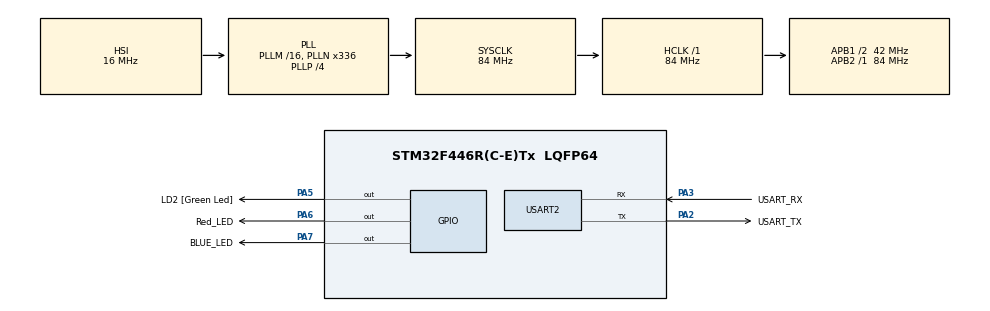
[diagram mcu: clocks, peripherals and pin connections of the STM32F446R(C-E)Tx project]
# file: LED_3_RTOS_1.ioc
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Mcu.Family=STM32F4
Mcu.Name=STM32F446R(C-E)Tx
Mcu.Package=LQFP64
NVIC.PriorityGroup=NVIC_PRIORITYGROUP_4
NVIC.TIM6_DAC_IRQn=true\:15\:0\:false\:false\:true\:false\:true\:true
NVIC.TimeBase=TIM6_DAC_IRQn
NVIC.TimeBaseIP=TIM6
PA14.GPIO_Label=TCK
PA14.Signal=SYS_JTCK-SWCLK
PA2.GPIO_Label=USART_TX
PA2.Mode=Asynchronous
PA2.Signal=USART2_TX
PA3.GPIO_Label=USART_RX
PA3.Mode=Asynchronous
PA3.Signal=USART2_RX
PA5.GPIO_Label=LD2 [Green Led]
PA5.Signal=GPIO_Output
PA6.GPIO_Label=Red_LED
PA6.Signal=GPIO_Output
PA7.GPIO_Label=BLUE_LED
PA7.Signal=GPIO_Output
PB3.GPIO_Label=SWO
PB3.Signal=SYS_JTDO-SWO
PC14-OSC32_IN.Mode=LSE-External-Oscillator
PC14-OSC32_IN.Signal=RCC_OSC32_IN
PC15-OSC32_OUT.Mode=LSE-External-Oscillator
PC15-OSC32_OUT.Signal=RCC_OSC32_OUT
PH0-OSC_IN.Mode=HSE-External-Oscillator
PH0-OSC_IN.Signal=RCC_OSC_IN
PH1-OSC_OUT.Mode=HSE-External-Oscillator
PH1-OSC_OUT.Signal=RCC_OSC_OUT
ProjectManager.HeapSize=0x200
ProjectManager.StackSize=0x400
ProjectManager.TargetToolchain=STM32CubeIDE
RCC.48MHZClocksFreq_Value=84000000
RCC.AHBFreq_Value=84000000
RCC.APB1CLKDivider=RCC_HCLK_DIV2
RCC.APB1Freq_Value=42000000
RCC.APB1TimFreq_Value=84000000
RCC.APB2Freq_Value=84000000
RCC.APB2TimFreq_Value=84000000
RCC.CortexFreq_Value=84000000
RCC.FLatency-AdvancedSettings=FLASH_LATENCY_2
RCC.HCLKFreq_Value=84000000
RCC.HSE_VALUE=8000000
RCC.HSI_VALUE=16000000
RCC.PLLN=336
RCC.PLLP=RCC_PLLP_DIV4
RCC.SYSCLKFreq_VALUE=84000000
RCC.SYSCLKSource=RCC_SYSCLKSOURCE_PLLCLK
RCC.USBFreq_Value=168000000
RCC.VCOOutputFreq_Value=336000000
USART2.VirtualMode=VM_ASYNC
VP_SYS_VS_tim6.Mode=TIM6
board=NUCLEO-F446RE

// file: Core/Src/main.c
/* USER CODE END Header */
#include "main.h"
#include <stdio.h>
#include "FreeRTOS.h"
#include "task.h"

UART_HandleTypeDef huart2;

void SystemClock_Config(void);
static void MX_GPIO_Init(void);
static void MX_USART2_UART_Init(void);

/* USER CODE BEGIN PFP */
static void led_green_handler(void * pvParameters);
static void led_red_handler(void * pvParameters);
static void led_blue_handler(void * pvParameters);

/* USER CODE END PFP */

int main(void)
{

  /* MCU Configuration--------------------------------------------------------*/

  /* Reset of all peripherals, Initializes the Flash interface and the Systick. */
  HAL_Init();

  /* USER CODE BEGIN Init */

  TaskHandle_t task1_handle;
  TaskHandle_t task2_handle;
  TaskHandle_t task3_handle;
  BaseType_t xReturned;

  /* USER CODE END Init */

  /* Configure the system clock */
  SystemClock_Config();

  /* Initialize all configured peripherals */
  MX_GPIO_Init();
  MX_USART2_UART_Init();
  /* USER CODE BEGIN 2 */

  xReturned=xTaskCreate(led_green_handler,"Green led task",100,NULL,2,&task1_handle);
  configASSERT(xReturned==pdPASS);

  xReturned=xTaskCreate(led_red_handler,"RED led task",100,NULL,2,&task2_handle);
  configASSERT(xReturned==pdPASS);

  xReturned=xTaskCreate(led_blue_handler,"BLUE led task",100,NULL,2,&task3_handle);
  configASSERT(xReturned==pdPASS);

  vTaskStartScheduler();

  /* USER CODE END 2 */

  /* Infinite loop */
  while (1)
  {

  }
}

void SystemClock_Config(void)
{
  RCC_OscInitTypeDef RCC_OscInitStruct = {0};
  RCC_ClkInitTypeDef RCC_ClkInitStruct = {0};

  /** Configure the main internal regulator output voltage
  */
  __HAL_RCC_PWR_CLK_ENABLE();
  __HAL_PWR_VOLTAGESCALING_CONFIG(PWR_REGULATOR_VOLTAGE_SCALE3);

  /** Initializes the RCC Oscillators according to the specified parameters
  * in the RCC_OscInitTypeDef structure.
  */
  RCC_OscInitStruct.OscillatorType = RCC_OSCILLATORTYPE_HSI;
  RCC_OscInitStruct.HSIState = RCC_HSI_ON;
  RCC_OscInitStruct.HSICalibrationValue = RCC_HSICALIBRATION_DEFAULT;
  RCC_OscInitStruct.PLL.PLLState = RCC_PLL_ON;
  RCC_OscInitStruct.PLL.PLLSource = RCC_PLLSOURCE_HSI;
  RCC_OscInitStruct.PLL.PLLM = 16;
  RCC_OscInitStruct.PLL.PLLN = 336;
  RCC_OscInitStruct.PLL.PLLP = RCC_PLLP_DIV4;
  RCC_OscInitStruct.PLL.PLLQ = 2;
  RCC_OscInitStruct.PLL.PLLR = 2;
  if (HAL_RCC_OscConfig(&RCC_OscInitStruct) != HAL_OK)
  {
    Error_Handler();
  }

  /** Initializes the CPU, AHB and APB buses clocks
  */
  RCC_ClkInitStruct.ClockType = RCC_CLOCKTYPE_HCLK|RCC_CLOCKTYPE_SYSCLK
                              |RCC_CLOCKTYPE_PCLK1|RCC_CLOCKTYPE_PCLK2;
  RCC_ClkInitStruct.SYSCLKSource = RCC_SYSCLKSOURCE_PLLCLK;
  RCC_ClkInitStruct.AHBCLKDivider = RCC_SYSCLK_DIV1;
  RCC_ClkInitStruct.APB1CLKDivider = RCC_HCLK_DIV2;
  RCC_ClkInitStruct.APB2CLKDivider = RCC_HCLK_DIV1;

  if (HAL_RCC_ClockConfig(&RCC_ClkInitStruct, FLASH_LATENCY_2) != HAL_OK)
  {
    Error_Handler();
  }
}

static void MX_USART2_UART_Init(void)
{

  huart2.Instance = USART2;
  huart2.Init.BaudRate = 115200;
  huart2.Init.WordLength = UART_WORDLENGTH_8B;
  huart2.Init.StopBits = UART_STOPBITS_1;
  huart2.Init.Parity = UART_PARITY_NONE;
  huart2.Init.Mode = UART_MODE_TX_RX;
  huart2.Init.HwFlowCtl = UART_HWCONTROL_NONE;
  huart2.Init.OverSampling = UART_OVERSAMPLING_16;
  if (HAL_UART_Init(&huart2) != HAL_OK)
  {
    Error_Handler();
  }

}

static void MX_GPIO_Init(void)
{
  GPIO_InitTypeDef GPIO_InitStruct = {0};

  /* GPIO Ports Clock Enable */
  __HAL_RCC_GPIOC_CLK_ENABLE();
  __HAL_RCC_GPIOH_CLK_ENABLE();
  __HAL_RCC_GPIOA_CLK_ENABLE();
  __HAL_RCC_GPIOB_CLK_ENABLE();

  /*Configure GPIO pin Output Level */
  HAL_GPIO_WritePin(GPIOA, LD2_Pin|Red_LED_Pin|BLUE_LED_Pin, GPIO_PIN_RESET);

  /*Configure GPIO pins : LD2_Pin Red_LED_Pin BLUE_LED_Pin */
  GPIO_InitStruct.Pin = LD2_Pin|Red_LED_Pin|BLUE_LED_Pin;
  GPIO_InitStruct.Mode = GPIO_MODE_OUTPUT_PP;
  GPIO_InitStruct.Pull = GPIO_NOPULL;
  GPIO_InitStruct.Speed = GPIO_SPEED_FREQ_LOW;
  HAL_GPIO_Init(GPIOA, &GPIO_InitStruct);

}

/* USER CODE BEGIN 4 */
static void led_green_handler(void * parameters)
{
	while(1)
	{
		printf("task1\n");
		HAL_GPIO_TogglePin(LD2_GPIO_Port,LD2_Pin);
		HAL_Delay(1000);
		taskYIELD();
	}
}

static void led_red_handler(void * parameters)
{
	while(1)
	{
		printf("task2\n");
		HAL_GPIO_TogglePin(Red_LED_GPIO_Port,Red_LED_Pin);
		HAL_Delay(800);
		taskYIELD();
	}
}

static void led_blue_handler(void * parameters)
{
	while(1)
	{
		printf("task3\n");
		HAL_GPIO_TogglePin(BLUE_LED_GPIO_Port,BLUE_LED_Pin);
		HAL_Delay(400);
		taskYIELD();
	}
}
/* USER CODE END 4 */

void HAL_TIM_PeriodElapsedCallback(TIM_HandleTypeDef *htim)
{
  if (htim->Instance == TIM6)
  {
    HAL_IncTick();
  }
}

void Error_Handler(void)
{
  __disable_irq();
  while (1)
  {
  }
}
